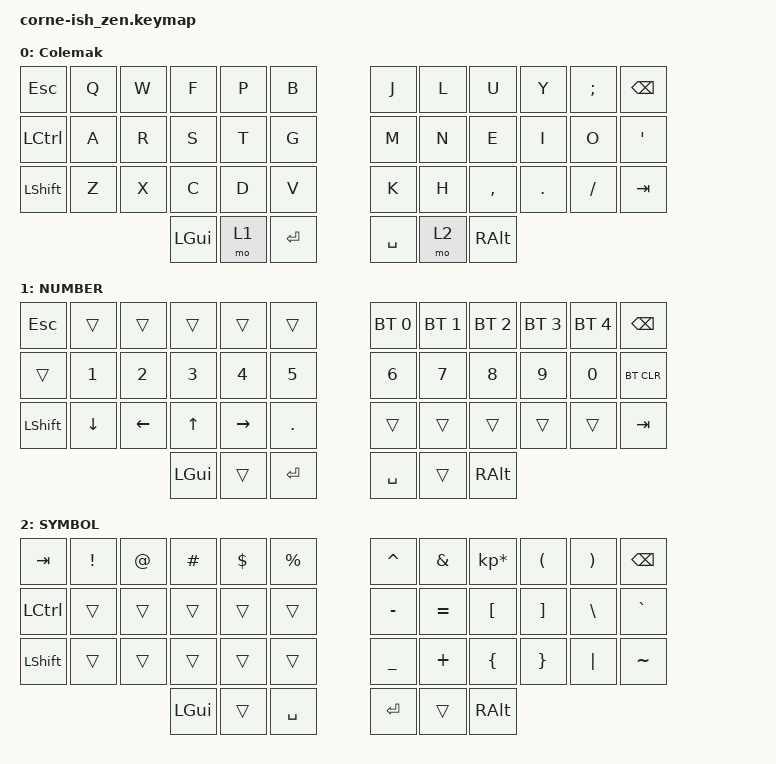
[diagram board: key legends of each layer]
#include <behaviors.dtsi>
#include <dt-bindings/zmk/keys.h>
#include <dt-bindings/zmk/bt.h>

/ {
  chosen {
    zmk,matrix_transform = &default_transform;
    //zmk,matrix_transform = &five_column_transform;
  };
};

/ {
        keymap {
                compatible = "zmk,keymap";

                default_layer {
                        label = "Colemak";
// -----------------------------------------------------------------------------------------
// |  ESC |  Q  |  W  |  F  |  P  |  B  |   |  J  |  L   |  U  |  Y  |  ;  | BKSP |
// | CTRL |  A  |  R  |  S  |  T  |  G  |   |  M  |  N   |  E  |  I  |  O  |  '   |
// | SHFT |  Z  |  X  |  C  |  D  |  V  |   |  K  |  H   |  ,  |  .  |  /  | TAB  |
//                    | GUI | LWR | ENT |   | SPC | RSE  | ALT |
                        bindings = <
   &kp ESC   &kp Q &kp W &kp F &kp P &kp B   &kp J &kp L  &kp U     &kp Y   &kp SEMI &kp BSPC
   &kp LCTRL &kp A &kp R &kp S &kp T &kp G   &kp M &kp N  &kp E     &kp I   &kp O    &kp SQT
   &kp LSHFT &kp Z &kp X &kp C &kp D &kp V   &kp K &kp H  &kp COMMA &kp DOT &kp FSLH &kp TAB
                  &kp LGUI &mo 1 &kp RET   &kp SPACE &mo 2 &kp RALT
                        >;
                };
                lower_layer {
                        label = "NUMBER";
// -----------------------------------------------------------------------------------------
// |  ESC |     |     |     |     |     |   | BT1 | BT2 | BT3 | BT4 | BT5 | BKSP |
// |      |  1  |  2  |  3  |  4  |  5  |   |  6  |  7  |  8  |  9  |  0  | BTCLR|
// | SHFT | DWN | LFT |  UP | RGT |  .  |   |     |     |     |     |     |  TAB |
//                    | GUI |     | ENT |   | SPC |     | ALT |
                        bindings = <
   &kp ESC    &trans       &trans       &trans       &trans        &trans     &bt BT_SEL 0 &bt BT_SEL 1 &bt BT_SEL 2   &bt BT_SEL 3 &bt BT_SEL 4 &kp BSPC
   &trans     &kp N1       &kp N2       &kp N3       &kp N4        &kp N5     &kp N6       &kp N7       &kp N8         &kp N9       &kp N0       &bt BT_CLR
   &kp LSHFT  &kp DOWN     &kp LEFT     &kp UP       &kp RIGHT     &kp DOT    &trans       &trans       &trans         &trans       &trans       &kp TAB
                          	        &kp LGUI     &trans        &kp RET    &kp SPACE    &trans       &kp RALT
                        >;
                };
                raise_layer {
                        label = "SYMBOL";
// -----------------------------------------------------------------------------------------
// |  TAB |  !  |  @  |  #  |  $  |  %  |   |  ^  |  &  |  *  |  (  |  )  | BKSP |
// | CTRL |     |     |     |     |     |   |  -  |  =  |  [  |  ]  |  \  |  `   |
// | SHFT |     |     |     |     |     |   |  _  |  +  |  {  |  }  | "|" |  ~   |
//                    | GUI |     | SPC |   | ENT |     | ALT |
                        bindings = <
   &kp  TAB  &kp EXCL &kp AT &kp HASH &kp DLLR &kp PRCNT   &kp CARET &kp AMPS  &kp KP_MULTIPLY &kp LPAR &kp RPAR &kp BSPC
   &kp LCTRL &trans   &trans &trans   &trans   &trans      &kp MINUS &kp EQUAL &kp LBKT        &kp RBKT &kp BSLH &kp GRAVE
   &kp LSHFT &trans   &trans &trans   &trans   &trans      &kp UNDER &kp PLUS  &kp LBRC        &kp RBRC &kp PIPE &kp TILDE
                    	     &kp LGUI &trans   &kp SPACE   &kp RET   &trans    &kp RALT
                        >;
                };
        };
};
